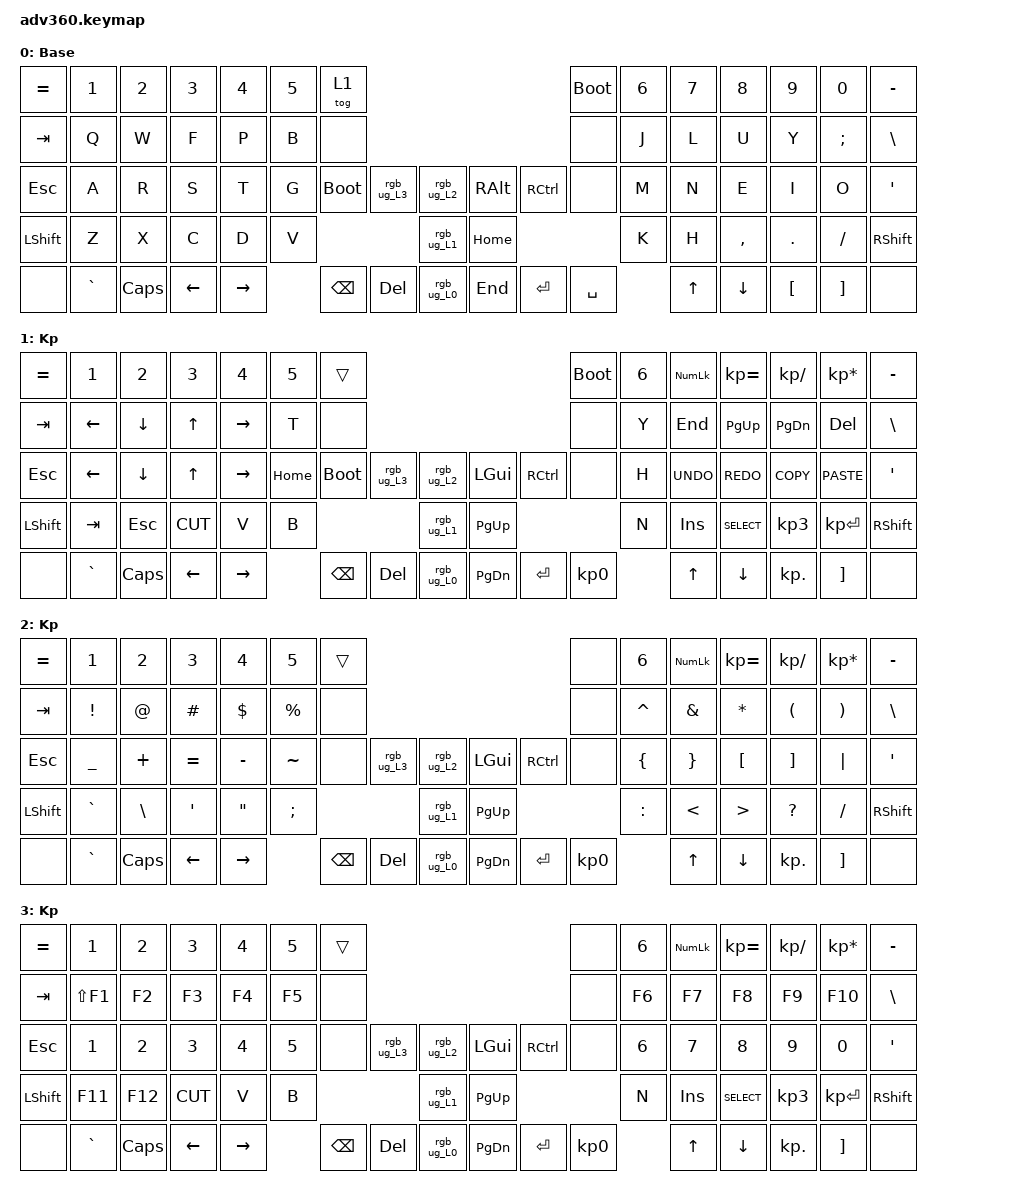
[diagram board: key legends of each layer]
#include <dt-bindings/zmk/stp.h>
#include <behaviors.dtsi>
#include <dt-bindings/zmk/keys.h>
#include <dt-bindings/zmk/rgb.h>

/ {
    behaviors {
        #include "macros.dtsi"
      #include "version.dtsi"

        hm: homerow_mods {
            compatible = "zmk,behavior-hold-tap";
            label = "HOMEROW_MODS";
            #binding-cells = <2>;
            tapping-term-ms = <200>;
            quick_tap_ms = <175>;
            flavor = "tap-preferred";
            bindings = <&kp>, <&kp>;
        };
    };

    macros {
        rgb_ug_L0: rgb_ug_L0 {
            compatible = "zmk,behavior-macro";
            #binding-cells = <0>;
            bindings = <&rgb_ug RGB_COLOR_HSB(97,100,25) &to 0>;
            label = "RGB_UG_L0";
        };

        rgb_ug_L1: rgb_ug_L1 {
            compatible = "zmk,behavior-macro";
            #binding-cells = <0>;
            bindings = <&rgb_ug RGB_COLOR_HSB(241,34,57) &to 1>;
            label = "RGB_UG_L1";
        };

        rgb_ug_L2: rgb_ug_L2 {
            compatible = "zmk,behavior-macro";
            #binding-cells = <0>;
            bindings = <&rgb_ug RGB_COLOR_HSB(36,88,43) &to 2>;
            label = "RGB_UG_L2";
        };

        rgb_ug_L3: rgb_ug_L3 {
            compatible = "zmk,behavior-macro";
            #binding-cells = <0>;
            bindings = <&rgb_ug RGB_COLOR_HSB(0,88,43) &to 3>;
            label = "RGB_UG_L3";
        };
    };

    keymap {
        compatible = "zmk,keymap";

        default_layer {
            display-name = "Base";
            bindings = <
&kp EQUAL  &kp N1     &kp N2    &kp N3    &kp N4     &kp N5  &tog 1                                                             &bootloader  &kp N6  &kp N7  &kp N8     &kp N9    &kp N0         &kp MINUS
&kp TAB    &kp Q      &kp W     &kp F     &kp P      &kp B   &none                                                              &none        &kp J   &kp L   &kp U      &kp Y     &kp SEMICOLON  &kp BSLH
&kp ESC    &kp A      &kp R     &kp S     &kp T      &kp G   &bootloader  &rgb_ug_L3  &rgb_ug_L2      &kp RIGHT_ALT  &kp RCTRL  &none        &kp M   &kp N   &kp E      &kp I     &kp O          &kp SQT
&kp LSHFT  &kp Z      &kp X     &kp C     &kp D      &kp V                            &rgb_ug_L1      &kp HOME                               &kp K   &kp H   &kp COMMA  &kp DOT   &kp FSLH       &kp RSHFT
&none      &kp GRAVE  &kp CAPS  &kp LEFT  &kp RIGHT          &kp BSPC     &kp DEL     &rgb_ug_L0      &kp END        &kp ENTER  &kp SPACE            &kp UP  &kp DOWN   &kp LBKT  &kp RBKT       &none
            >;
        };

        Nav {
            display-name = "Kp";
            bindings = <
&kp EQUAL  &kp N1     &kp N2    &kp N3     &kp N4     &kp N5    &trans                                                         &bootloader  &kp N6  &kp KP_NUM  &kp KP_EQUAL  &kp KP_DIVIDE  &kp KP_MULTIPLY  &kp MINUS
&kp TAB    &kp LEFT   &kp DOWN  &kp UP     &kp RIGHT  &kp T     &none                                                          &none        &kp Y   &kp END     &kp PG_UP     &kp PAGE_DOWN  &kp DEL          &kp BSLH
&kp ESC    &kp LEFT   &kp DOWN  &kp UP     &kp RIGHT  &kp HOME  &bootloader  &rgb_ug_L3  &rgb_ug_L2      &kp LGUI   &kp RCTRL  &none        &kp H   &kp K_UNDO  &kp K_REDO    &kp K_COPY     &kp K_PASTE      &kp SQT
&kp LSHFT  &kp TAB    &kp ESC   &kp K_CUT  &kp V      &kp B                              &rgb_ug_L1      &kp PG_UP                          &kp N   &kp INS     &kp K_SELECT  &kp KP_N3      &kp KP_ENTER     &kp RSHFT
&none      &kp GRAVE  &kp CAPS  &kp LEFT   &kp RIGHT            &kp BSPC     &kp DEL     &rgb_ug_L0      &kp PG_DN  &kp ENTER  &kp KP_N0            &kp UP      &kp DOWN      &kp KP_DOT     &kp RBKT         &none
            >;

            label = "Nav";
        };

        Sym {
            display-name = "Kp";
            bindings = <
&kp EQUAL  &kp N1           &kp N2         &kp N3     &kp N4             &kp N5         &trans                                                      &none      &kp N6          &kp KP_NUM       &kp KP_EQUAL      &kp KP_DIVIDE         &kp KP_MULTIPLY        &kp MINUS
&kp TAB    &kp EXCLAMATION  &kp AT_SIGN    &kp HASH   &kp DOLLAR         &kp PERCENT    &none                                                       &none      &kp CARET       &kp AMPERSAND    &kp ASTERISK      &kp LEFT_PARENTHESIS  &kp RIGHT_PARENTHESIS  &kp BSLH
&kp ESC    &kp UNDERSCORE   &kp PLUS       &kp EQUAL  &kp MINUS          &kp TILDE      &none     &rgb_ug_L3  &rgb_ug_L2      &kp LGUI   &kp RCTRL  &none      &kp LEFT_BRACE  &kp RIGHT_BRACE  &kp LEFT_BRACKET  &kp RIGHT_BRACKET     &kp PIPE               &kp SQT
&kp LSHFT  &kp GRAVE        &kp BACKSLASH  &kp SQT    &kp DOUBLE_QUOTES  &kp SEMICOLON                        &rgb_ug_L1      &kp PG_UP                        &kp COLON       &kp LESS_THAN    &kp GREATER_THAN  &kp QUESTION          &kp SLASH              &kp RSHFT
&none      &kp GRAVE        &kp CAPS       &kp LEFT   &kp RIGHT                         &kp BSPC  &kp DEL     &rgb_ug_L0      &kp PG_DN  &kp ENTER  &kp KP_N0                  &kp UP           &kp DOWN          &kp KP_DOT            &kp RBKT               &none
            >;

            label = "Sym";
        };

        Num {
            display-name = "Kp";
            bindings = <
&kp EQUAL  &kp N1        &kp N2        &kp N3        &kp N4        &kp N5  &trans                                                      &none      &kp N6        &kp KP_NUM  &kp KP_EQUAL  &kp KP_DIVIDE  &kp KP_MULTIPLY  &kp MINUS
&kp TAB    &kp LS(F1)    &kp F2        &kp F3        &kp F4        &kp F5  &none                                                       &none      &kp F6        &kp F7      &kp F8        &kp F9         &kp F10          &kp BSLH
&kp ESC    &kp NUMBER_1  &kp NUMBER_2  &kp NUMBER_3  &kp NUMBER_4  &kp N5  &none     &rgb_ug_L3  &rgb_ug_L2      &kp LGUI   &kp RCTRL  &none      &kp NUMBER_6  &kp N7      &kp N8        &kp NUMBER_9   &kp NUMBER_0     &kp SQT
&kp LSHFT  &kp F11       &kp F12       &kp K_CUT     &kp V         &kp B                         &rgb_ug_L1      &kp PG_UP                        &kp N         &kp INS     &kp K_SELECT  &kp KP_N3      &kp KP_ENTER     &kp RSHFT
&none      &kp GRAVE     &kp CAPS      &kp LEFT      &kp RIGHT             &kp BSPC  &kp DEL     &rgb_ug_L0      &kp PG_DN  &kp ENTER  &kp KP_N0                &kp UP      &kp DOWN      &kp KP_DOT     &kp RBKT         &none
            >;

            label = "Num";
        };
    };
};
